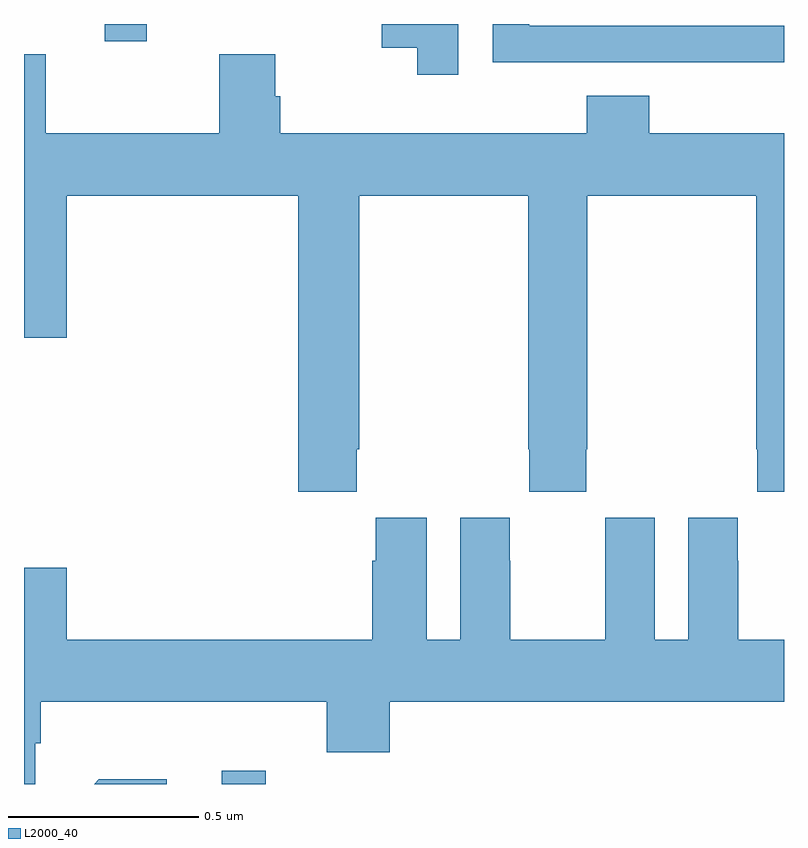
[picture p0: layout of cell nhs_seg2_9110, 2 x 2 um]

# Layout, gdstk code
import gdstk
lib = gdstk.Library(unit=1e-6, precision=1e-09)
def R(c, l, rs):  # rectangles x0, y0, x1, y1
    for r in rs: c.add(gdstk.rectangle(r[:2], r[2:], *l))
def P(c, l, *ps):  # polygons
    for p in ps: c.add(gdstk.Polygon(p, *l))
L2000_40 = (2000, 40)

nhs_seg2_9110 = lib.new_cell('nhs_seg2_9110')
R(nhs_seg2_9110, L2000_40, [(225.521,600.8,225.636,600.835), (225.212,602.754,225.323,602.8)])
P(nhs_seg2_9110, L2000_40, [(227,602.796),(226.329,602.796),(226.329,602.8),(226.233,602.8),(226.233,602.7),(226.729,602.7),(226.729,602.699),(227,602.699)],
  [(226.143,602.8),(225.942,602.8),(225.942,602.737),(226.035,602.737),(226.035,602.667),(226.143,602.667)],
  [(225.875,601.681),(225.882,601.681),(225.882,602.348),(226.327,602.348),(226.327,601.681),(226.329,601.681),(226.329,601.569),(226.479,601.569),(226.479,601.681),(226.482,601.681),(226.482,602.348),(226.927,602.348),(226.927,601.681),(226.929,601.681),(226.929,601.569),(227,601.569),(227,602.512),(226.646,602.512),(226.646,602.611),(226.481,602.611),(226.481,602.512),(225.674,602.512),(225.674,602.61),(225.661,602.61),(225.661,602.72),(225.514,602.72),(225.514,602.512),(225.057,602.512),(225.057,602.72),(225,602.72),(225,601.974),(225.112,601.974),(225.112,602.348),(225.722,602.348),(225.722,601.569),(225.875,601.569)],
  [(225.03,600.907),(225.044,600.907),(225.044,601.016),(225.797,601.016),(225.797,600.883),(225.962,600.883),(225.962,601.016),(227,601.016),(227,601.18),(226.879,601.18),(226.879,601.388),(226.878,601.388),(226.878,601.501),(226.748,601.501),(226.748,601.18),(226.66,601.18),(226.66,601.501),(226.53,601.501),(226.53,601.388),(226.529,601.388),(226.529,601.18),(226.279,601.18),(226.279,601.388),(226.278,601.388),(226.278,601.501),(226.148,601.501),(226.148,601.18),(226.06,601.18),(226.06,601.501),(225.926,601.501),(225.926,601.388),(225.917,601.388),(225.917,601.18),(225.112,601.18),(225.112,601.369),(225,601.369),(225,600.8),(225.03,600.8)],
  [(225.376,600.812),(225.197,600.812),(225.185,600.8),(225.376,600.8)])

lib.write_gds('nhs_seg2_9110.gds')
